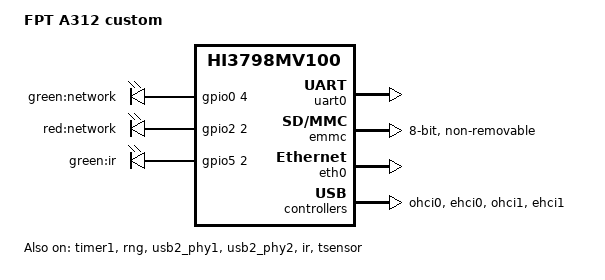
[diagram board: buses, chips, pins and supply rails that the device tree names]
// SPDX-License-Identifier: GPL-2.0-or-later OR MIT
/*
 * FPT A312, a headless Hi3798MV100 board.
 *
 * This is an EC6108V9C-class design.  The SoC clock tree, pinctrl ranges and
 * peripheral nodes come from hi3798mv100.dtsi, so the eMMC, Ethernet and USB
 * clocks are the named CRG clocks instead of the vendor DTB's unrelated
 * numeric IDs.
 *
 * The eMMC stays at the conservative 52 MHz high-speed timing used by the
 * board's existing firmware.  Do not enable HS200/DDR here until the board
 * has been tested at that speed.
 */

/dts-v1/;

#include <dt-bindings/gpio/gpio.h>
#include "hi3798mv100.dtsi"

/ {
	model = "FPT A312 custom";
	compatible = "hisilicon,hi3798mv100-a312", "hisilicon,hi3798mv100";

	aliases {
		serial0 = &uart0;
	};

	chosen {
		stdout-path = "serial0:115200n8";
	};

	leds {
		compatible = "gpio-leds";

		network {
			label = "green:network";
			gpios = <&gpio0 4 GPIO_ACTIVE_HIGH>;
			default-state = "off";
		};

		network-activity {
			label = "red:network";
			gpios = <&gpio2 2 GPIO_ACTIVE_HIGH>;
			default-state = "off";
		};

		ir {
			label = "green:ir";
			gpios = <&gpio5 2 GPIO_ACTIVE_HIGH>;
			panic-indicator;
			default-state = "off";
		};
	};

	thermal-zones {
		cpu-thermal {
			polling-delay = <1000>;
			polling-delay-passive = <1000>;
			thermal-sensors = <&tsensor>;

			trips {
				hot: hot {
					temperature = <95000>;
					hysteresis = <5000>;
					type = "hot";
				};

				critical: critical {
					temperature = <115000>;
					hysteresis = <5000>;
					type = "critical";
				};
			};
		};
	};
};

&soc {
	tsensor: thermal-sensor@8a23028 {
		compatible = "hisilicon,hi3798mv100-tsensor";
		reg = <0x8a23028 0x10>, <0x8ab0000 0x1000>;
		reg-names = "pmoc", "otp";
		#thermal-sensor-cells = <0>;
		status = "okay";
	};
};

&emmc_data {
	pinctrl-single,bias-pulldown = <
		PINCTRL_PULLDOWN(0, 1, 0, 1)
	>;
	pinctrl-single,slew-rate = <
		PINCTRL_SLEW_RATE(1, 1)
	>;
	pinctrl-single,drive-strength = <
		PINCTRL_DRV_STRENGTH(6, 7)
	>;
};

&emmc_detect {
	pinctrl-single,bias-pulldown = <
		PINCTRL_PULLDOWN(0, 1, 0, 1)
	>;
	pinctrl-single,slew-rate = <
		PINCTRL_SLEW_RATE(1, 1)
	>;
	pinctrl-single,drive-strength = <
		PINCTRL_DRV_STRENGTH(3, 3)
	>;
};

&emmc_ccmd {
	pinctrl-single,bias-pullup = <
		PINCTRL_PULLUP(0, 1, 0, 1)
	>;
	pinctrl-single,slew-rate = <
		PINCTRL_SLEW_RATE(1, 1)
	>;
	pinctrl-single,drive-strength = <
		PINCTRL_DRV_STRENGTH(6, 7)
	>;
};

&emmc_cclk_out {
	pinctrl-single,bias-pulldown = <
		PINCTRL_PULLDOWN(0, 1, 0, 1)
	>;
	pinctrl-single,slew-rate = <
		PINCTRL_SLEW_RATE(1, 1)
	>;
	pinctrl-single,drive-strength = <
		PINCTRL_DRV_STRENGTH(5, 7)
	>;
};

&emmc_rst {
	pinctrl-single,bias-pullup = <
		PINCTRL_PULLUP(0, 1, 0, 1)
	>;
	pinctrl-single,slew-rate = <
		PINCTRL_SLEW_RATE(1, 1)
	>;
	pinctrl-single,drive-strength = <
		PINCTRL_DRV_STRENGTH(3, 3)
	>;
};

&timer1 {
	status = "okay";
};

&uart0 {
	status = "okay";
};

&rng {
	status = "okay";
};

&gpio0 {
	status = "okay";
};

&gpio2 {
	status = "okay";
};

&gpio4 {
	status = "okay";
};

&gpio5 {
	status = "okay";
};

&gpio6 {
	status = "okay";
};

&emmc {
	fifo-depth = <256>;
	clock-frequency = <100000000>;
	cap-mmc-highspeed;
	non-removable;
	bus-width = <8>;
	max-frequency = <52000000>;
	status = "okay";
};

&eth0 {
	status = "okay";
};

&usb2_phy1 {
	status = "okay";
};

&usb2_phy2 {
	status = "okay";
};

&ohci0 {
	status = "okay";
};

&ehci0 {
	status = "okay";
};

&ohci1 {
	status = "okay";
};

&ehci1 {
	status = "okay";
};

&ir {
	status = "okay";
};

/* Correct binding, but leave it off until the rootfs is known to pet it. */
&wdt0 {
	status = "disabled";
};
